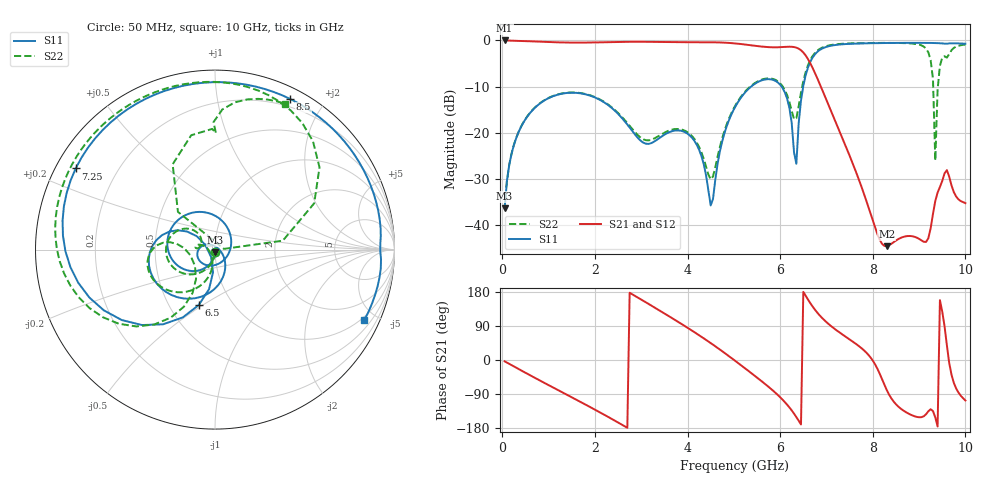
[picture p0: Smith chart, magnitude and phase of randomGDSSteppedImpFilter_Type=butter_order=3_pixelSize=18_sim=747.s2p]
! freq	dB(S11)	phase(S11)	dB(S12)	phase(S12)
!  dB(S21)	phase(S21)	dB(S22)	phase(S22)
!S-par simulation data
#  GHz  S  DB  R 50
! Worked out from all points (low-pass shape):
!   200 points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, 50 MHz to 10 GHz, reference 50 ohm
!   highest |S21| = -0.02 dB at 50 MHz (marker M1); lowest = -44.5 dB at 8.3 GHz (marker M2)
!   |S21| within 3 dB of the highest: start of sweep to 6.532 GHz
!   lowest |S11| = -36.4 dB at 50 MHz (marker M3), VSWR 1.03, Z = 50.1 - j1.52 ohm
!   |S11| at or under -10 dB: start of sweep to 5.373 GHz; 6.03 GHz to 6.498 GHz (467.9 MHz wide, 7.47 % of centre)
!   |S22| runs from -36.3 to -0.6 dB; largest |S21 - S12| = 0
!   S11 on the Smith chart (normalised r, x): 50 MHz: 1.00, -0.03; 6.5 GHz: 0.70, -0.48; 7.25 GHz: 0.06, +0.27; 8.5 GHz: 0.11, +1.61; 10 GHz: 0.84, -4.30
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0.05  -36.36 -86.4  -0.02 -3.4  -0.02 -3.4  -36.34 -85.9
0.2  -24.53 -102.1  -0.06 -13.6  -0.06 -13.6  -24.49 -99.8
0.5  -17.06 -125.8  -0.16 -33.7  -0.16 -33.7  -17.01 -120.0
1.75  -11.57 141.9  -0.49 -114.6  -0.49 -114.6  -11.50 169.1
2.65  -17.59 54.6  -0.32 -175.4  -0.32 -175.4  -17.31 136.4
3.4  -21.07 -95.3  -0.34 130.3  -0.34 130.3  -20.54 174.7
4.15  -21.77 170.1  -0.40 73.3  -0.40 73.3  -21.36 161.4
4.5  -35.71 70.0  -0.41 44.7  -0.41 44.7  -30.06 -155.6
5.05  -14.01 -85.1  -0.68 -4.1  -0.68 -4.1  -13.78 -110.3
6  -9.60 170.9  -1.48 -98.2  -1.48 -98.2  -9.29 178.7
6.35  -26.71 -118.4  -1.58 -150.5  -1.58 -150.5  -16.84 -141.0
6.5  -9.85 -106.3  -2.62 179.8  -2.62 179.8  -8.82 -118.6
6.7  -3.73 -142.9  -5.94 141.3  -5.94 141.3  -3.39 -142.4
7.25  -0.93 149.8  -18.89 75.5  -18.89 75.5  -0.81 164.8
8.3  -0.57 75.7  -44.52 -78.9  -44.52 -78.9  -0.55 108.2
8.35  -0.57 72.7  -44.33 -90.8  -44.33 -90.8  -0.55 105.8
8.5  -0.55 63.6  -43.30 -116.7  -43.30 -116.7  -0.56 98.2
9.2  -0.56 22.3  -42.80 -135.3  -42.80 -135.3  -2.60 38.2
9.3  -0.57 16.4  -37.54 -134.7  -37.54 -134.7  -8.38 7.5
9.35  -0.58 13.5  -34.74 -151.5  -34.74 -151.5  -26.01 4.7
9.45  -0.63 7.6  -31.72 158.0  -31.72 158.0  -5.50 116.4
10  -0.72 -25.3  -35.21 -106.8  -35.21 -106.8  -0.90 64.5
